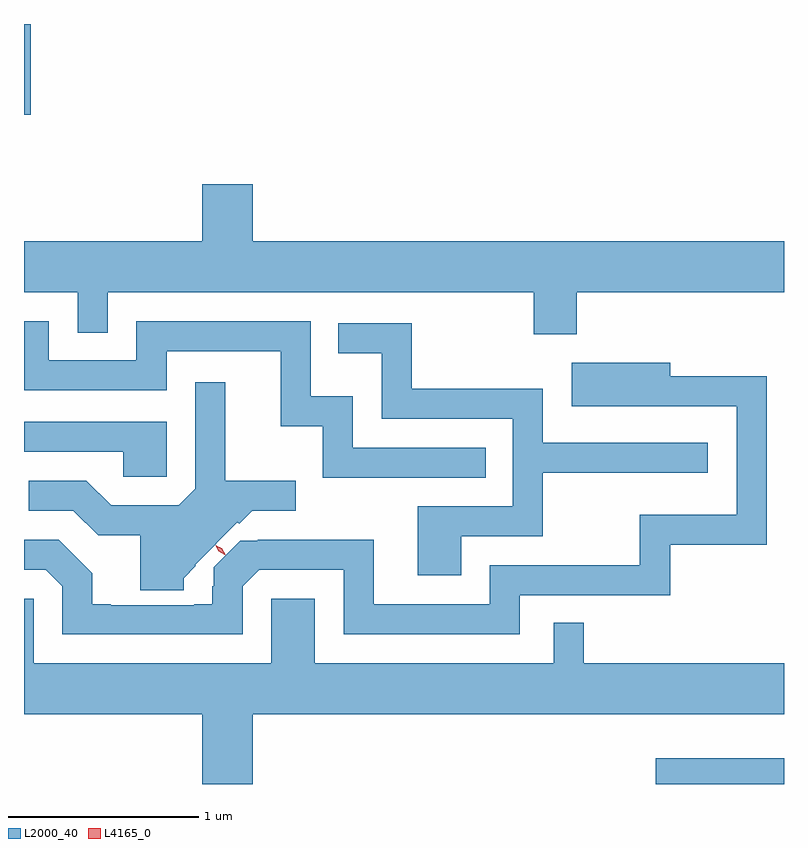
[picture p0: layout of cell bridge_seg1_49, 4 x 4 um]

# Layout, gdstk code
import gdstk
lib = gdstk.Library(unit=1e-6, precision=1e-09)
def R(c, l, rs):  # rectangles x0, y0, x1, y1
    for r in rs: c.add(gdstk.rectangle(r[:2], r[2:], *l))
def P(c, l, *ps):  # polygons
    for p in ps: c.add(gdstk.Polygon(p, *l))
L2000_40 = (2000, 40)
L4165_0 = (4165, 0)

bridge_seg1_49 = lib.new_cell('bridge_seg1_49')
R(bridge_seg1_49, L2000_40, [(1815.863,923.628,1816.539,923.764), (1812.539,927.151,1812.574,927.628)])
P(bridge_seg1_49, L2000_40, [(1815.449,926.216),(1816.539,926.216),(1816.539,926.484),(1813.744,926.484),(1813.744,926.784),(1813.476,926.784),(1813.476,926.484),(1812.539,926.484),(1812.539,926.216),(1812.821,926.216),(1812.821,926.003),(1812.979,926.003),(1812.979,926.216),(1815.221,926.216),(1815.221,925.996),(1815.449,925.996)],
  [(1814.968,925.399),(1814.269,925.399),(1814.269,925.669),(1814.049,925.669),(1814.049,926.064),(1813.131,926.064),(1813.131,925.859),(1812.669,925.859),(1812.669,926.064),(1812.539,926.064),(1812.539,925.701),(1813.289,925.701),(1813.289,925.906),(1813.891,925.906),(1813.891,925.511),(1814.111,925.511),(1814.111,925.241),(1814.968,925.241)],
  [(1814.839,924.931),(1815.269,924.931),(1815.269,925.266),(1816.138,925.266),(1816.138,925.424),(1815.269,925.424),(1815.269,925.709),(1814.579,925.709),(1814.579,926.054),(1814.193,926.054),(1814.193,925.896),(1814.421,925.896),(1814.421,925.551),(1815.111,925.551),(1815.111,925.089),(1814.611,925.089),(1814.611,924.726),(1814.839,924.726)],
  [(1813.689,924.669),(1813.777,924.756),(1814.221,924.756),(1814.221,924.416),(1815.149,924.416),(1815.149,924.621),(1815.939,924.621),(1815.939,924.886),(1816.449,924.886),(1816.449,925.774),(1815.939,925.774),(1815.939,925.844),(1815.421,925.844),(1815.421,925.616),(1816.291,925.616),(1816.291,925.044),(1815.781,925.044),(1815.781,924.779),(1814.991,924.779),(1814.991,924.574),(1814.379,924.574),(1814.379,924.914),(1813.768,924.914),(1813.768,924.907),(1813.676,924.907),(1813.538,924.77),(1813.538,924.67),(1813.531,924.67),(1813.531,924.574),(1813.435,924.574),(1813.435,924.569),(1812.995,924.569),(1812.995,924.574),(1812.899,924.574),(1812.899,924.737),(1812.722,924.914),(1812.539,924.914),(1812.539,924.756),(1812.654,924.756),(1812.741,924.669),(1812.741,924.416),(1813.689,924.416)],
  [(1813.379,924.712),(1813.444,924.777),(1813.439,924.783),(1813.662,925.006),(1813.671,924.998),(1813.739,925.066),(1813.968,925.066),(1813.968,925.224),(1813.599,925.224),(1813.599,925.743),(1813.441,925.743),(1813.441,925.182),(1813.354,925.094),(1812.997,925.094),(1812.867,925.224),(1812.563,925.224),(1812.563,925.066),(1812.799,925.066),(1812.929,924.936),(1813.151,924.936),(1813.151,924.648),(1813.379,924.648)],
  [(1813.289,925.534),(1812.539,925.534),(1812.539,925.376),(1813.061,925.376),(1813.061,925.246),(1813.289,925.246)],
  [(1813.744,923.996),(1816.539,923.996),(1816.539,924.264),(1815.484,924.264),(1815.484,924.478),(1815.326,924.478),(1815.326,924.264),(1814.069,924.264),(1814.069,924.604),(1813.841,924.604),(1813.841,924.264),(1812.589,924.264),(1812.589,924.604),(1812.539,924.604),(1812.539,923.996),(1813.476,923.996),(1813.476,923.628),(1813.744,923.628)])
P(bridge_seg1_49, L4165_0, [(1813.596,924.834),(1813.565,924.852),(1813.547,924.883),(1813.547,924.884),(1813.548,924.884),(1813.579,924.866),(1813.597,924.835),(1813.597,924.834)],
  [(1813.596,924.838),(1813.567,924.853),(1813.551,924.882),(1813.551,924.883),(1813.552,924.883),(1813.581,924.868),(1813.597,924.838),(1813.597,924.838)])

lib.write_gds('bridge_seg1_49.gds')
